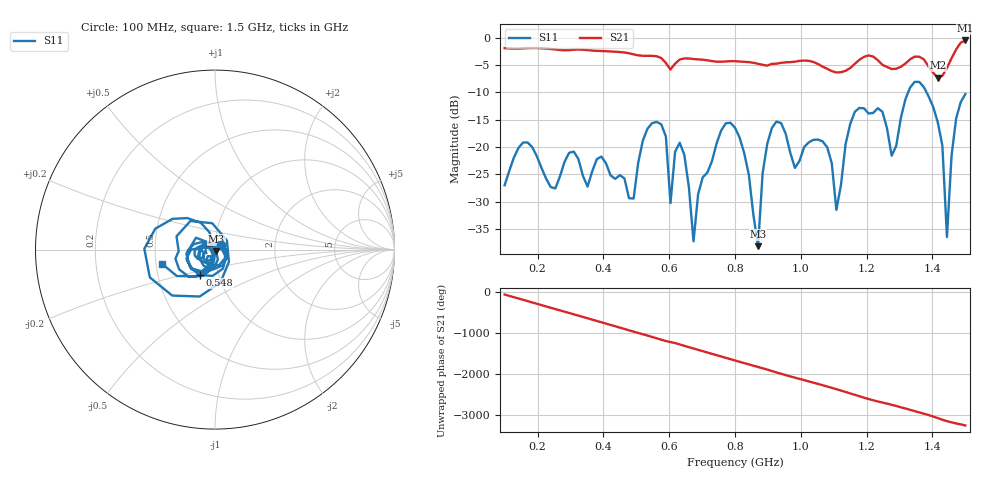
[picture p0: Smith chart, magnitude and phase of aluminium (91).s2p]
! NanoVNA-App
! Date: 2025-09-26 09:58:46
! Start: 100MHz Stop: 1,5GHz Points: 101
! S-Parameter data: F S11 S21 S12 S22
# Hz S RI R 50
!  Frequency  S11_Real  S11_Imag  S21_Real  S21_Imag  S12_Real  S12_Imag  S22_Real  S22_Imag
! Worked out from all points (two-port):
!   101 points, 100 MHz to 1.5 GHz, reference 50 ohm
!   highest |S21| = -0.52 dB at 1.5 GHz (marker M1); lowest = -7.3 dB at 1.416 GHz (marker M2)
!   |S21| within 3 dB of the highest: start of sweep to 567 MHz; 1.192 GHz to 1.221 GHz (29.4 MHz wide, 2.44 % of centre)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
!   lowest |S11| = -38.1 dB at 870 MHz (marker M3), VSWR 1.03, Z = 50.7 - j1.06 ohm
!   |S11| at or under -10 dB: start of sweep to 1.326 GHz; 1.382 GHz to end of sweep
!   S12 and S22 are empty: the file has one direction only
!   S11 on the Smith chart (normalised r, x): 100 MHz: 1.07, +0.06; 548 MHz: 0.81, -0.24; 1.5 GHz: 0.54, -0.09
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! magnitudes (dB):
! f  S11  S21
! 100 MHz  -27.0  -1.9
! 156 MHz  -19.2  -2.0
! 338 MHz  -25.3  -2.2
! 492 MHz  -29.4  -3.1
! 548 MHz  -15.6  -3.3
! 576 MHz  -15.8  -3.7
! 604 MHz  -30.2  -5.8
! 646 MHz  -21.4  -3.8
! 674 MHz  -37.2  -3.9
! 702 MHz  -25.5  -4.0
! 800 MHz  -16.5  -4.3
! 870 MHz  -38.1  -4.8
! 912 MHz  -16.5  -4.8
! 1.038 GHz  -18.7  -4.4
! 1.108 GHz  -31.5  -6.4
! 1.164 GHz  -13.5  -4.8
! 1.276 GHz  -21.6  -5.7
! 1.346 GHz  -8.1  -3.5
! 1.416 GHz  -15.4  -7.3
! 1.444 GHz  -36.4  -5.5
! 1.472 GHz  -14.7  -2.1
! 1.5 GHz  -10.3  -0.5
